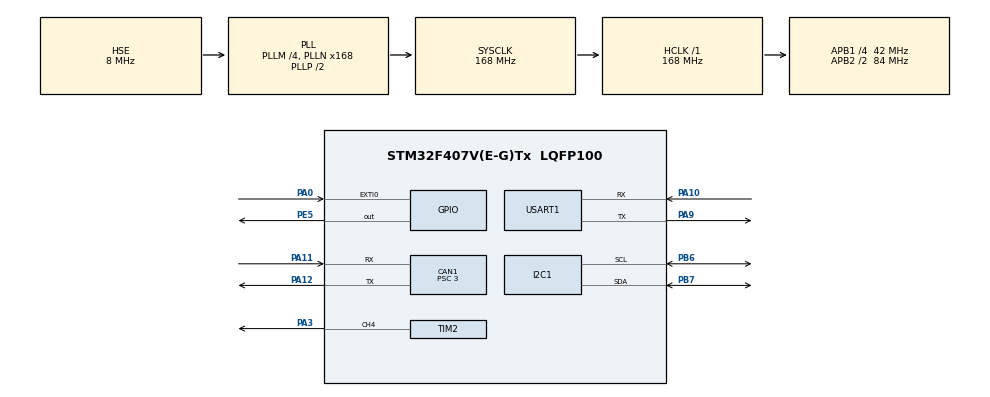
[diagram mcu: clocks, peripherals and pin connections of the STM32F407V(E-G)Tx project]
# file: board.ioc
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CAN1.BS1=CAN_BS1_10TQ
CAN1.BS2=CAN_BS2_3TQ
CAN1.CalculateBaudRate=1000000
CAN1.CalculateTimeBit=1000
CAN1.CalculateTimeQuantum=71.42857142857143
CAN1.Mode=CAN_MODE_SILENT_LOOPBACK
CAN1.Prescaler=3
Dma.Request0=USART1_RX
Dma.Request1=USART1_TX
Dma.USART1_RX.0.Direction=DMA_PERIPH_TO_MEMORY
Dma.USART1_RX.0.FIFOMode=DMA_FIFOMODE_DISABLE
Dma.USART1_RX.0.Instance=DMA2_Stream2
Dma.USART1_RX.0.MemDataAlignment=DMA_MDATAALIGN_BYTE
Dma.USART1_RX.0.MemInc=DMA_MINC_ENABLE
Dma.USART1_RX.0.Mode=DMA_NORMAL
Dma.USART1_RX.0.PeriphDataAlignment=DMA_PDATAALIGN_BYTE
Dma.USART1_RX.0.PeriphInc=DMA_PINC_DISABLE
Dma.USART1_RX.0.Priority=DMA_PRIORITY_LOW
Dma.USART1_TX.1.Direction=DMA_MEMORY_TO_PERIPH
Dma.USART1_TX.1.FIFOMode=DMA_FIFOMODE_DISABLE
Dma.USART1_TX.1.Instance=DMA2_Stream7
Dma.USART1_TX.1.MemDataAlignment=DMA_MDATAALIGN_BYTE
Dma.USART1_TX.1.MemInc=DMA_MINC_ENABLE
Dma.USART1_TX.1.Mode=DMA_NORMAL
Dma.USART1_TX.1.PeriphDataAlignment=DMA_PDATAALIGN_BYTE
Dma.USART1_TX.1.PeriphInc=DMA_PINC_DISABLE
Dma.USART1_TX.1.Priority=DMA_PRIORITY_LOW
Mcu.Family=STM32F4
Mcu.Name=STM32F407V(E-G)Tx
Mcu.Package=LQFP100
NVIC.CAN1_RX0_IRQn=true\:0\:0\:false\:false\:true\:true\:true\:true
NVIC.CAN1_RX1_IRQn=true\:0\:0\:false\:false\:true\:true\:true\:true
NVIC.CAN1_SCE_IRQn=true\:0\:0\:false\:false\:true\:true\:true\:true
NVIC.CAN1_TX_IRQn=true\:0\:0\:false\:false\:true\:true\:true\:true
NVIC.DMA2_Stream2_IRQn=true\:0\:0\:false\:false\:true\:false\:true\:true
NVIC.DMA2_Stream7_IRQn=true\:0\:0\:false\:false\:true\:false\:true\:true
NVIC.EXTI0_IRQn=true\:0\:0\:false\:false\:true\:true\:true\:true
NVIC.PriorityGroup=NVIC_PRIORITYGROUP_4
NVIC.TIM1_BRK_TIM9_IRQn=true\:0\:0\:false\:false\:true\:true\:true\:true
NVIC.TIM3_IRQn=true\:0\:0\:false\:false\:true\:true\:true\:true
NVIC.USART1_IRQn=true\:0\:0\:false\:false\:true\:true\:true\:true
PA0-WKUP.GPIO_ModeDefaultEXTI=GPIO_MODE_IT_RISING
PA0-WKUP.GPIO_PuPd=GPIO_PULLDOWN
PA0-WKUP.Signal=GPXTI0
PA10.Mode=Asynchronous
PA10.Signal=USART1_RX
PA11.Mode=CAN_Activate
PA11.Signal=CAN1_RX
PA12.Mode=CAN_Activate
PA12.Signal=CAN1_TX
PA13.Mode=Serial_Wire
PA13.Signal=SYS_JTMS-SWDIO
PA14.Mode=Serial_Wire
PA14.Signal=SYS_JTCK-SWCLK
PA3.Signal=S_TIM2_CH4
PA9.Mode=Asynchronous
PA9.Signal=USART1_TX
PB6.Mode=I2C
PB6.Signal=I2C1_SCL
PB7.Mode=I2C
PB7.Signal=I2C1_SDA
PE5.Signal=GPIO_Output
PH0-OSC_IN.Mode=HSE-External-Oscillator
PH0-OSC_IN.Signal=RCC_OSC_IN
PH1-OSC_OUT.Mode=HSE-External-Oscillator
PH1-OSC_OUT.Signal=RCC_OSC_OUT
ProjectManager.HeapSize=0x200
ProjectManager.StackSize=0x400
ProjectManager.TargetToolchain=CMake
RCC.48MHZClocksFreq_Value=84000000
RCC.AHBFreq_Value=168000000
RCC.APB1CLKDivider=RCC_HCLK_DIV4
RCC.APB1Freq_Value=42000000
RCC.APB1TimFreq_Value=84000000
RCC.APB2CLKDivider=RCC_HCLK_DIV2
RCC.APB2Freq_Value=84000000
RCC.APB2TimFreq_Value=168000000
RCC.CortexFreq_Value=168000000
RCC.HCLKFreq_Value=168000000
RCC.HSE_VALUE=8000000
RCC.HSI_VALUE=16000000
RCC.LSE_VALUE=32768
RCC.PLLM=4
RCC.PLLN=168
RCC.PLLSourceVirtual=RCC_PLLSOURCE_HSE
RCC.SYSCLKFreq_VALUE=168000000
RCC.SYSCLKSource=RCC_SYSCLKSOURCE_PLLCLK
RCC.VCOOutputFreq_Value=336000000
SH.S_TIM2_CH4.0=TIM2_CH4,PWM Generation4 CH4
TIM2.Channel-PWM\ Generation4\ CH4=TIM_CHANNEL_4
TIM2.Period=20000-1
TIM2.Prescaler=84-1
TIM2.Pulse-PWM\ Generation4\ CH4=500
TIM3.Period=4999
TIM3.Prescaler=16799
TIM9.Period=100-1
TIM9.Prescaler=168-1
USART1.VirtualMode=VM_ASYNC
VP_TIM2_VS_ClockSourceINT.Mode=Internal
VP_TIM3_VS_ClockSourceINT.Mode=Internal
VP_TIM9_VS_ClockSourceINT.Mode=Internal
board=custom

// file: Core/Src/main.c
/* USER CODE BEGIN Header */
/**
  ******************************************************************************
  * @file           : main.c
  * @brief          : Main program body
  ******************************************************************************
  * @attention
  *
  * Copyright (c) 2026 STMicroelectronics.
  * All rights reserved.
  *
  * This software is licensed under terms that can be found in the LICENSE file
  * in the root directory of this software component.
  * If no LICENSE file comes with this software, it is provided AS-IS.
  *
  ******************************************************************************
  */
/* USER CODE END Header */
#include "main.h"
#include "can.h"
#include "dma.h"
#include "i2c.h"
#include "tim.h"
#include "usart.h"
#include "gpio.h"

/* USER CODE BEGIN Includes */
#include <string.h>

/* USER CODE END Includes */

/* USER CODE BEGIN PV */
uint8_t receivedata[50];

/* USER CODE END PV */

void SystemClock_Config(void);

/* USER CODE BEGIN 0 */
//void HAL_UART_RxCpltCallback(UART_HandleTypeDef *huart)
//{
  //HAL_UART_Transmit_DMA(&huart1,receivedata,2);

  //GPIO_PinState state =GPIO_PIN_SET;
    //if (receivedata[1]=='0'){
      //state=GPIO_PIN_RESET;
    //}
    //if (receivedata[0]=='R'){
      //HAL_GPIO_WritePin(GPIOE, GPIO_PIN_5, state);
    //}
    //else if (receivedata[0]=='G'){
      //HAL_GPIO_WritePin(GPIOE, GPIO_PIN_6, state);
    //}
    //HAL_UART_Receive_DMA(&huart1, receivedata, 2);

//}

//void HAL_UARTEx_RxEventCallback(UART_HandleTypeDef *huart, uint16_t Size)
//{
  //if(huart==&huart1)
  //{
    //HAL_UART_Transmit_DMA(&huart1,receivedata,Size);
    //HAL_UARTEx_ReceiveToIdle_DMA(&huart1,receivedata,sizeof(receivedata));

  //}
//}

/* USER CODE END 0 */

int main(void)
{

  /* MCU Configuration--------------------------------------------------------*/

  /* Reset of all peripherals, Initializes the Flash interface and the Systick. */
  HAL_Init();

  /* Configure the system clock */
  SystemClock_Config();

  /* Initialize all configured peripherals */
  MX_GPIO_Init();
  MX_DMA_Init();
  MX_TIM3_Init();
  MX_TIM9_Init();
  MX_TIM2_Init();
  MX_USART1_UART_Init();
  MX_I2C1_Init();
  MX_CAN1_Init();
  /* USER CODE BEGIN 2 */
  //char mess[] ="hello world";

  //HAL_UART_Receive_DMA(&huart1,receivedata,2);
  CAN_TxHeaderTypeDef txHeader = {0};
  txHeader.StdId = 0x200;// TODO 对吗
  txHeader.ExtId = 0;// TODO对吗
  txHeader.IDE = CAN_ID_STD;// TODO 不对吧
  txHeader.RTR = CAN_RTR_DATA;//TODO 要改吗
  txHeader.DLC = 8;// TODO 要改吗
  txHeader.TransmitGlobalTime = DISABLE;

  /* 0x201 M2006 current, big-endian int16, range typically [-10000, 10000] */
  uint8_t txData[8] = {};
  txData[0]=0x03;
  txData[1]=0xE8;

  // TODO 构造控制电机的CAN帧。建议电流值：1000
  uint32_t txMailbox;

  /* USER CODE END 2 */

  /* Infinite loop */
  /* USER CODE BEGIN WHILE */
  while (1)
  {
    (void)HAL_CAN_AddTxMessage(&hcan1, &txHeader, txData, &txMailbox);

    HAL_Delay(1000); // TODO 电机的控制频率建议100hz

    //HAL_UART_Transmit(&huart1,(uint8_t*)mess,strlen(mess),100);
    //HAL_Delay(1000);
    //

    //HAL_UART_Receive(&huart1,receivedata,2,HAL_MAX_DELAY);
    //HAL_UART_Transmit(&huart1,receivedata,2,100);

    //HAL_UART_Transmit_IT(&huart1,receivedata,2);

    //GPIO_PinState state =GPIO_PIN_SET;
    //if (receivedata[1]=='0'){
      //state=GPIO_PIN_RESET;
    //}
    //if (receivedata[0]=='R'){
      //HAL_GPIO_WritePin(GPIOE, GPIO_PIN_5, state);
    //}
    ///else if (receivedata[0]=='G'){
      //HAL_GPIO_WritePin(GPIOE, GPIO_PIN_6, state);

    /* USER CODE END WHILE */

  }
}

void SystemClock_Config(void)
{
  RCC_OscInitTypeDef RCC_OscInitStruct = {0};
  RCC_ClkInitTypeDef RCC_ClkInitStruct = {0};

  /** Configure the main internal regulator output voltage
  */
  __HAL_RCC_PWR_CLK_ENABLE();
  __HAL_PWR_VOLTAGESCALING_CONFIG(PWR_REGULATOR_VOLTAGE_SCALE1);

  /** Initializes the RCC Oscillators according to the specified parameters
  * in the RCC_OscInitTypeDef structure.
  */
  RCC_OscInitStruct.OscillatorType = RCC_OSCILLATORTYPE_HSE;
  RCC_OscInitStruct.HSEState = RCC_HSE_ON;
  RCC_OscInitStruct.PLL.PLLState = RCC_PLL_ON;
  RCC_OscInitStruct.PLL.PLLSource = RCC_PLLSOURCE_HSE;
  RCC_OscInitStruct.PLL.PLLM = 4;
  RCC_OscInitStruct.PLL.PLLN = 168;
  RCC_OscInitStruct.PLL.PLLP = RCC_PLLP_DIV2;
  RCC_OscInitStruct.PLL.PLLQ = 4;
  if (HAL_RCC_OscConfig(&RCC_OscInitStruct) != HAL_OK)
  {
    Error_Handler();
  }

  /** Initializes the CPU, AHB and APB buses clocks
  */
  RCC_ClkInitStruct.ClockType = RCC_CLOCKTYPE_HCLK|RCC_CLOCKTYPE_SYSCLK
                              |RCC_CLOCKTYPE_PCLK1|RCC_CLOCKTYPE_PCLK2;
  RCC_ClkInitStruct.SYSCLKSource = RCC_SYSCLKSOURCE_PLLCLK;
  RCC_ClkInitStruct.AHBCLKDivider = RCC_SYSCLK_DIV1;
  RCC_ClkInitStruct.APB1CLKDivider = RCC_HCLK_DIV4;
  RCC_ClkInitStruct.APB2CLKDivider = RCC_HCLK_DIV2;

  if (HAL_RCC_ClockConfig(&RCC_ClkInitStruct, FLASH_LATENCY_5) != HAL_OK)
  {
    Error_Handler();
  }
}

/* USER CODE BEGIN 4 */
void HAL_TIM_PeriodElapsedCallback(TIM_HandleTypeDef *htim)
{
    //TODO
}

/* USER CODE END 4 */

void Error_Handler(void)
{
  __disable_irq();
  while (1)
  {
  }
}
